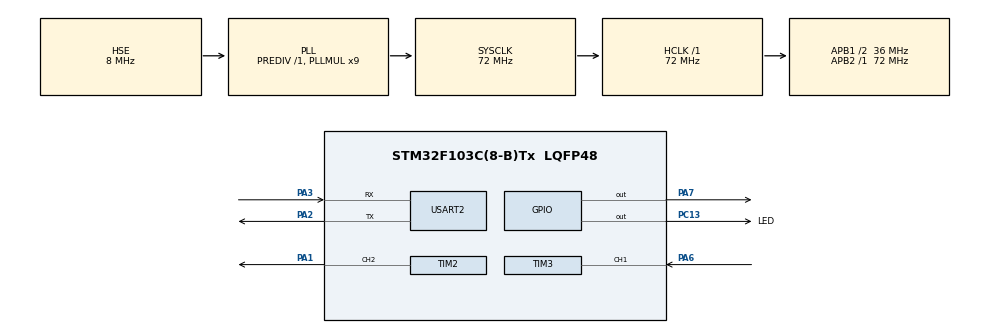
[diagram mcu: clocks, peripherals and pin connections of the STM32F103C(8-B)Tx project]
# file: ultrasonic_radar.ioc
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Mcu.Family=STM32F1
Mcu.Name=STM32F103C(8-B)Tx
Mcu.Package=LQFP48
NVIC.PriorityGroup=NVIC_PRIORITYGROUP_4
NVIC.TIM3_IRQn=true\:0\:0\:false\:false\:true\:true\:true
PA1.Signal=S_TIM2_CH2
PA13.Mode=Serial_Wire
PA13.Signal=SYS_JTMS-SWDIO
PA14.Mode=Serial_Wire
PA14.Signal=SYS_JTCK-SWCLK
PA2.Mode=Asynchronous
PA2.Signal=USART2_TX
PA3.Mode=Asynchronous
PA3.Signal=USART2_RX
PA6.Signal=S_TIM3_CH1
PA7.Signal=GPIO_Output
PC13-TAMPER-RTC.GPIO_Label=LED
PC13-TAMPER-RTC.Signal=GPIO_Output
PD0-OSC_IN.Mode=HSE-External-Oscillator
PD0-OSC_IN.Signal=RCC_OSC_IN
PD1-OSC_OUT.Mode=HSE-External-Oscillator
PD1-OSC_OUT.Signal=RCC_OSC_OUT
ProjectManager.HeapSize=0x200
ProjectManager.StackSize=0x400
ProjectManager.TargetToolchain=Makefile
RCC.AHBFreq_Value=72000000
RCC.APB1CLKDivider=RCC_HCLK_DIV2
RCC.APB1Freq_Value=36000000
RCC.APB1TimFreq_Value=72000000
RCC.APB2Freq_Value=72000000
RCC.APB2TimFreq_Value=72000000
RCC.HCLKFreq_Value=72000000
RCC.PLLMUL=RCC_PLL_MUL9
RCC.PLLSourceVirtual=RCC_PLLSOURCE_HSE
RCC.SYSCLKFreq_VALUE=72000000
RCC.SYSCLKSource=RCC_SYSCLKSOURCE_PLLCLK
RCC.USBFreq_Value=72000000
SH.S_TIM2_CH2.0=TIM2_CH2,PWM Generation2 CH2
SH.S_TIM3_CH1.0=TIM3_CH1,Input_Capture1_from_TI1
TIM2.Channel-PWM\ Generation2\ CH2=TIM_CHANNEL_2
TIM2.Period=20000
TIM2.Prescaler=71
TIM2.Pulse-PWM\ Generation2\ CH2=1000
TIM3.Channel-Input_Capture1_from_TI1=TIM_CHANNEL_1
TIM3.Prescaler=71
USART2.Parity=PARITY_EVEN
USART2.VirtualMode=VM_ASYNC
USART2.WordLength=WORDLENGTH_9B
board=custom

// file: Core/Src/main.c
/* USER CODE BEGIN Header */
/**
  ******************************************************************************
  * @file           : main.c
  * @brief          : Main program body
  ******************************************************************************
  * @attention
  *
  * <h2><center>&copy; Copyright (c) 2022 STMicroelectronics.
  * All rights reserved.</center></h2>
  *
  * This software component is licensed by ST under BSD 3-Clause license,
  * the "License"; You may not use this file except in compliance with the
  * License. You may obtain a copy of the License at:
  *                        opensource.org/licenses/BSD-3-Clause
  *
  ******************************************************************************
  */
/* USER CODE END Header */
#include "main.h"
#include "tim.h"
#include "usart.h"
#include "gpio.h"

void SystemClock_Config(void);

/* USER CODE BEGIN 0 */
void delay (uint16_t time)
{
	__HAL_TIM_SET_COUNTER(&htim3, 0);
	while (__HAL_TIM_GET_COUNTER (&htim3) < time);
}

uint32_t IC_Val1 = 0;
uint32_t IC_Val2 = 0;
uint32_t Difference = 0;
uint8_t Is_First_Captured = 0;  // is the first value captured ?
uint8_t Distance  = 0;
uint8_t Distance_Display[3];
uint8_t Angle_Display[3];
uint8_t angle_str[] = {'a','n','g','l','e', ' '};
uint8_t distance_str[] = {'d','i','s','t', 'a', 'n', 'c', 'e'};
uint8_t comma_str[] = {',',' '};
uint8_t space[] = {' '};
uint8_t next_line[] = {'\n'};

#define TRIG_PIN GPIO_PIN_7
#define TRIG_PORT GPIOA

// Let's write the callback function

void HAL_TIM_IC_CaptureCallback(TIM_HandleTypeDef *htim)
{
	if (htim->Channel == HAL_TIM_ACTIVE_CHANNEL_1)  // if the interrupt source is channel1
	{
		if (Is_First_Captured==0) // if the first value is not captured
		{
			IC_Val1 = HAL_TIM_ReadCapturedValue(htim, TIM_CHANNEL_1); // read the first value
			Is_First_Captured = 1;  // set the first captured as true
			// Now change the polarity to falling edge
			__HAL_TIM_SET_CAPTUREPOLARITY(htim, TIM_CHANNEL_1, TIM_INPUTCHANNELPOLARITY_FALLING);
		}

		else if (Is_First_Captured==1)   // if the first is already captured
		{
			IC_Val2 = HAL_TIM_ReadCapturedValue(htim, TIM_CHANNEL_1);  // read second value
			__HAL_TIM_SET_COUNTER(htim, 0);  // reset the counter

			if (IC_Val2 > IC_Val1)
			{
				Difference = IC_Val2-IC_Val1;
			}

			else if (IC_Val1 > IC_Val2)
			{
				Difference = (0xffff - IC_Val1) + IC_Val2;
			}

			Distance = Difference * .034/2;
			Is_First_Captured = 0; // set it back to false

			// set polarity to rising edge
			__HAL_TIM_SET_CAPTUREPOLARITY(htim, TIM_CHANNEL_1, TIM_INPUTCHANNELPOLARITY_RISING);
			__HAL_TIM_DISABLE_IT(&htim3, TIM_IT_CC1);
		}
	}
}

void HCSR04_Read (void)
{
	HAL_GPIO_WritePin(TRIG_PORT, TRIG_PIN, GPIO_PIN_SET);  // pull the TRIG pin HIGH
	delay(10);  // wait for 10 us
	HAL_GPIO_WritePin(TRIG_PORT, TRIG_PIN, GPIO_PIN_RESET);  // pull the TRIG pin low

	__HAL_TIM_ENABLE_IT(&htim3, TIM_IT_CC1);
}

void convert_to_array(uint8_t data, uint8_t array[])
{
  if(data >= 100){
    array[0] = data / 100 +48;
    array[1] = (data % 100) / 10 +48;
    array[2] = data % 10 + 48;
  }
  else if(data >= 10){
    array[0] = data / 10 + 48;
    array[1] = data % 10 + 48;
    array[2] = 0;
  }
  else{
    array[0] = 0;
    array[1] = 0;
    array[2] = data % 10 + 48;

  }
}

/* USER CODE END 0 */

int main(void)
{

  /* MCU Configuration--------------------------------------------------------*/

  /* Reset of all peripherals, Initializes the Flash interface and the Systick. */
  HAL_Init();

  /* Configure the system clock */
  SystemClock_Config();

  /* Initialize all configured peripherals */
  MX_GPIO_Init();
  MX_TIM3_Init();
  MX_USART2_UART_Init();
  MX_TIM2_Init();
  /* USER CODE BEGIN 2 */
  int pulse = 0;
  HAL_TIM_IC_Start_IT(&htim3, TIM_CHANNEL_1);
  HAL_TIM_PWM_Start(&htim2, TIM_CHANNEL_2);
  /* USER CODE END 2 */

  /* Infinite loop */
   while (1)
  {

    /* USER CODE BEGIN 3 */
    int angle = (pulse/110-3)*10;
    if(angle >= 0 && angle <= 180){
      //measure distance
      HCSR04_Read();
      //display distance
      convert_to_array(angle, Angle_Display);
      convert_to_array(Distance, Distance_Display);
      HAL_UART_Transmit(&huart2, angle_str, sizeof(angle_str), 1000);
      HAL_UART_Transmit(&huart2, Angle_Display, sizeof(Angle_Display), 1000);
      HAL_UART_Transmit(&huart2, comma_str, sizeof(comma_str), 1000);
      HAL_UART_Transmit(&huart2, distance_str, sizeof(distance_str), 1000);
      HAL_UART_Transmit(&huart2, space, sizeof(space), 1000);
      HAL_UART_Transmit(&huart2, Distance_Display, sizeof(Distance_Display), 1000);
      HAL_UART_Transmit(&huart2, next_line, sizeof(next_line), 1000);
      HAL_Delay(100);
    }
    //motor spin
    pulse = (pulse + 110) % 2420;
    __HAL_TIM_SetCompare(&htim2, TIM_CHANNEL_2, pulse);

    HAL_Delay(400);

  }
  /* USER CODE END 3 */
}

void SystemClock_Config(void)
{
  RCC_OscInitTypeDef RCC_OscInitStruct = {0};
  RCC_ClkInitTypeDef RCC_ClkInitStruct = {0};

  /** Initializes the RCC Oscillators according to the specified parameters
  * in the RCC_OscInitTypeDef structure.
  */
  RCC_OscInitStruct.OscillatorType = RCC_OSCILLATORTYPE_HSE;
  RCC_OscInitStruct.HSEState = RCC_HSE_ON;
  RCC_OscInitStruct.HSEPredivValue = RCC_HSE_PREDIV_DIV1;
  RCC_OscInitStruct.HSIState = RCC_HSI_ON;
  RCC_OscInitStruct.PLL.PLLState = RCC_PLL_ON;
  RCC_OscInitStruct.PLL.PLLSource = RCC_PLLSOURCE_HSE;
  RCC_OscInitStruct.PLL.PLLMUL = RCC_PLL_MUL9;
  if (HAL_RCC_OscConfig(&RCC_OscInitStruct) != HAL_OK)
  {
    Error_Handler();
  }
  /** Initializes the CPU, AHB and APB buses clocks
  */
  RCC_ClkInitStruct.ClockType = RCC_CLOCKTYPE_HCLK|RCC_CLOCKTYPE_SYSCLK
                              |RCC_CLOCKTYPE_PCLK1|RCC_CLOCKTYPE_PCLK2;
  RCC_ClkInitStruct.SYSCLKSource = RCC_SYSCLKSOURCE_PLLCLK;
  RCC_ClkInitStruct.AHBCLKDivider = RCC_SYSCLK_DIV1;
  RCC_ClkInitStruct.APB1CLKDivider = RCC_HCLK_DIV2;
  RCC_ClkInitStruct.APB2CLKDivider = RCC_HCLK_DIV1;

  if (HAL_RCC_ClockConfig(&RCC_ClkInitStruct, FLASH_LATENCY_2) != HAL_OK)
  {
    Error_Handler();
  }
}

void Error_Handler(void)
{
  __disable_irq();
  while (1)
  {
  }
}

/************************ (C) COPYRIGHT STMicroelectronics *****END OF FILE****/
